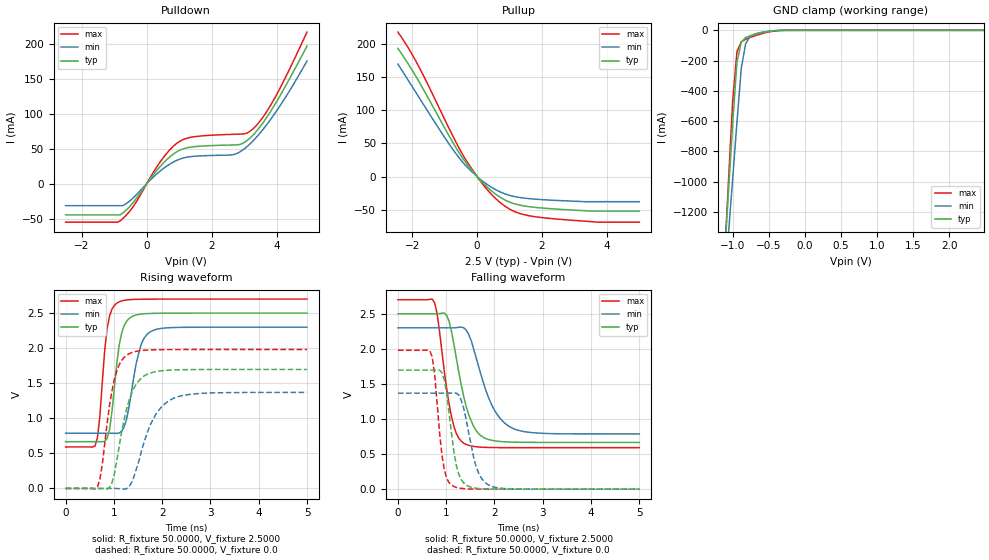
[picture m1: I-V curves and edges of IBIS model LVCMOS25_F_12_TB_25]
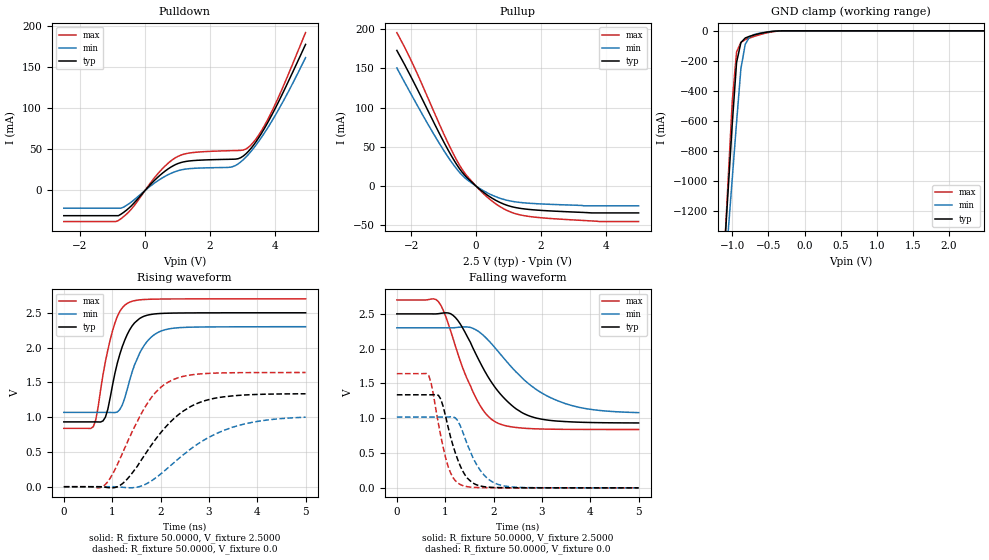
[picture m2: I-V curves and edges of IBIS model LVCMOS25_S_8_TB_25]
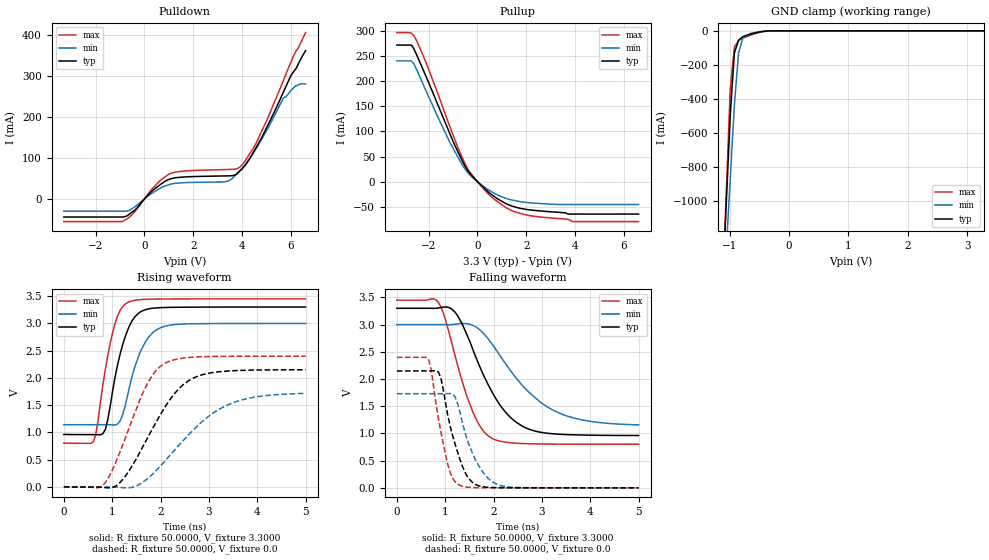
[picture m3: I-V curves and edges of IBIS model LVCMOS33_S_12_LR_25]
| / 7\'7
| \ \   Xilinx Inc.
| / /
| \_\/.\   IBIS Models for SPARTAN-6
[IBIS ver]   4.2
[File name]   MIPSSystem.ibs
[File Rev]   1.3
[Date]   Wed October 15 14:00:35 2014
[Source]   Derived from spice models, rev0.21, using
   hspice 2007.12
[Notes]   Xilinx IBIS file for SPARTAN-6 I/O standards.
   All models are preliminary.
   The version of IBISCHK used is ibischk4.
   Ibis models were generated using S2IBIS3.
[Disclaimer] The data in this file is derived from SPICE simulations using
                 modeling information extracted from the target process. While
                 a great deal of care has been taken to provide information
                 that is accurate, this model is considered preliminary as it
                 has not been verified by actual silicon measurement. Treat the
                 data in this model as preliminary until actual silicon
                 verification is performed.
[Copyright]   Copyright 2009, 2010, Xilinx Inc., All rights reserved
|   Component SPARTAN-6
[Component]   SPARTAN-6
[Manufacturer]   Xilinx Inc.
[Package]
|CSG324
|variable   typ   min   max
R_pkg   115.02m   53.54m   220.96m
L_pkg   4.09nH   1.70nH   9.73nH
C_pkg   1.04pF   0.60pF   1.51pF
[Pin]  signal_name   model_name
H13   UART_Rx   LVCMOS33_S_12_LR_25
H14   UART_Tx   LVCMOS33_S_12_LR_25
H18   reset   LVCMOS33_S_12_LR_25
K15   clk   LVCMOS33_S_12_LR_25
J13   leds<0>   LVCMOS33_S_12_LR_25
K14   leds<1>   LVCMOS33_S_12_LR_25
U17   leds<2>   LVCMOS33_S_12_LR_25
U18   leds<3>   LVCMOS33_S_12_LR_25
D4   HSWAPEN   LVCMOS25_F_12_TB_25
C4   IO_L1N_VREF_0   NC
B2   IO_L2P_0   NC
A2   IO_L2N_0   NC
D6   IO_L3P_0   NC
C6   IO_L3N_0   NC
B3   IO_L4P_0   NC
A3   IO_L4N_0   NC
B4   IO_L5P_0   NC
A4   IO_L5N_0   NC
C5   IO_L6P_0   NC
A5   IO_L6N_0   NC
F7   IO_L7P_0   NC
E6   IO_L7N_0   NC
B6   IO_L8P_0   NC
A6   IO_L8N_VREF_0   NC
E7   IO_L9P_0   NC
E8   IO_L9N_0   NC
C7   IO_L10P_0   NC
A7   IO_L10N_0   NC
D8   IO_L11P_0   NC
C8   IO_L11N_0   NC
G8   IO_L32P_0   NC
F8   IO_L32N_0   NC
B8   IO_L33P_0   NC
A8   IO_L33N_0   NC
D9   GCLK19   NC
C9   GCLK18   NC
B9   GCLK17   NC
A9   GCLK16   NC
D11   GCLK15   NC
C11   GCLK14   NC
C10   GCLK13   NC
A10   GCLK12   NC
G9   IO_L38P_0   NC
F9   IO_L38N_VREF_0   NC
B11   IO_L39P_0   NC
A11   IO_L39N_0   NC
G11   IO_L40P_0   NC
F10   IO_L40N_0   NC
B12   IO_L41P_0   NC
A12   IO_L41N_0   NC
F11   IO_L42P_0   NC
E11   IO_L42N_0   NC
D12   IO_L47P_0   NC
C12   IO_L47N_0   NC
C13   IO_L50P_0   NC
A13   IO_L50N_0   NC
F12   IO_L51P_0   NC
E12   IO_L51N_0   NC
B14   IO_L62P_0   NC
A14   IO_L62N_VREF_0   NC
F13   SCP7   LVCMOS25_F_12_TB_25
E13   SCP6   LVCMOS25_F_12_TB_25
C15   SCP5   LVCMOS25_F_12_TB_25
A15   SCP4   LVCMOS25_F_12_TB_25
D14   SCP3   LVCMOS25_F_12_TB_25
C14   SCP2   LVCMOS25_F_12_TB_25
B16   SCP1   LVCMOS25_F_12_TB_25
A16   SCP0   LVCMOS25_F_12_TB_25
F15   A25   LVCMOS25_F_12_TB_25
F16   A24   LVCMOS25_F_12_TB_25
C17   A23_M1A13   NC
C18   A22_M1A14   NC
F14   A21_M1RESET   NC
G14   A20_M1A11   NC
D17   A19_M1CKE   NC
D18   A18_M1A12   NC
H12   A17_M1A8   NC
G13   A16_M1A9   NC
E16   A15_M1A10   NC
E18   A14_M1A4   NC
K12   A13_M1WE   NC
K13   A12_M1BA2   NC
F17   A11_M1A7   NC
F18   A10_M1A2   NC
H15   A7_M1A0   NC
H16   A6_M1A1   NC
G16   A5_M1CLK   NC
G18   A4_M1CLKN   NC
L12   GCLK11_M1A5   NC
L13   GCLK10_M1A6   NC
K16   GCLK8_M1CASN   NC
L15   GCLK7_M1UDM   NC
L16   GCLK6_TRDY1_M1LDM   NC
H17   GCLK5_M1DQ4   NC
J16   A3_M1DQ6   NC
J18   A2_M1DQ7   NC
K17   A1_M1LDQS   NC
K18   A0_M1LDQSN   NC
L17   FCS_B_M1DQ2   NC
L18   FOE_B_M1DQ3   NC
M16   FWE_B_M1DQ0   NC
M18   LDC_M1DQ1   NC
N17   HDC_M1DQ8   NC
N18   M1DQ9   NC
P17   M1DQ10   NC
P18   M1DQ11   NC
N15   M1UDQS   NC
N16   M1UDQSN   NC
T17   M1DQ12   NC
T18   M1DQ13   NC
M14   IO_L53P_1   NC
N14   IO_L53N_VREF_1   NC
L14   IO_L61P_1   NC
M13   IO_L61N_1   NC
P15   AWAKE   LVCMOS25_F_12_TB_25
P16   DOUT_BUSY   LVCMOS25_F_12_TB_25
R15   CCLK   LVCMOS25_F_12_TB_25
T15   M0_CMPMISO   NC
U16   CMPCLK   NC
V16   CMPMOSI   NC
R13   D0_DIN_MISO_MISO1   LVCMOS25_F_12_TB_25
T13   MOSI_CSI_B_MISO0   LVCMOS25_F_12_TB_25
U15   IO_L5P_2   NC
V15   IO_L5N_2   NC
T14   D1_MISO2   LVCMOS25_F_12_TB_25
V14   D2_MISO3   LVCMOS25_F_12_TB_25
N12   M1   LVCMOS25_F_12_TB_25
P12   D10   LVCMOS25_F_12_TB_25
U13   D11   LVCMOS25_F_12_TB_25
V13   D12   LVCMOS25_F_12_TB_25
M11   IO_L15P_2   NC
N11   IO_L15N_2   NC
R11   IO_L16P_2   NC
T11   IO_L16N_VREF_2   NC
T12   IO_L19P_2   NC
V12   IO_L19N_2   NC
N10   IO_L20P_2   NC
P11   IO_L20N_2   NC
M10   IO_L22P_2   NC
N9   IO_L22N_2   NC
U11   IO_L23P_2   NC
V11   IO_L23N_2   NC
R10   GCLK3   NC
T10   GCLK2   NC
U10   GCLK1_D13   NC
V10   GCLK0_USERCCLK   NC
R8   GCLK31_D14   NC
T8   GCLK30_D15   NC
T9   GCLK29   NC
V9   GCLK28   NC
M8   IO_L40P_2   NC
N8   IO_L40N_2   NC
U8   IO_L41P_2   NC
V8   IO_L41N_VREF_2   NC
U7   IO_L43P_2   NC
V7   IO_L43N_2   NC
N7   IO_L44P_2   NC
P8   IO_L44N_2   NC
T6   IO_L45P_2   NC
V6   IO_L45N_2   NC
R7   IO_L46P_2   NC
T7   IO_L46N_2   NC
N6   IO_L47P_2   NC
P7   IO_L47N_2   NC
R5   D7   LVCMOS25_F_12_TB_25
T5   RDWR_B   LVCMOS25_F_12_TB_25
U5   D3   LVCMOS25_F_12_TB_25
V5   D4   LVCMOS25_F_12_TB_25
R3   D5   LVCMOS25_F_12_TB_25
T3   D6   LVCMOS25_F_12_TB_25
T4   IO_L63P_2   NC
V4   IO_L63N_2   NC
N5   D8   LVCMOS25_F_12_TB_25
P6   D9   LVCMOS25_F_12_TB_25
U3   INIT_B   LVCMOS25_F_12_TB_25
V3   CSO_B   LVCMOS25_F_12_TB_25
N4   IO_L1P_3   NC
N3   IO_L1N_VREF_3   NC
P4   IO_L2P_3   NC
P3   IO_L2N_3   NC
L6   IO_L31P_3   NC
M5   IO_L31N_VREF_3   NC
U2   M3DQ14   NC
U1   M3DQ15   NC
T2   M3DQ12   NC
T1   M3DQ13   NC
P2   M3UDQS   NC
P1   M3UDQSN   NC
N2   M3DQ10   NC
N1   M3DQ11   NC
M3   M3DQ8   NC
M1   M3DQ9   NC
L2   M3DQ0   NC
L1   M3DQ1   NC
K2   M3DQ2   NC
K1   M3DQ3   NC
L4   M3LDQS   NC
L3   M3LDQSN   NC
J3   M3DQ6   NC
J1   M3DQ7   NC
H2   GCLK27_M3DQ4   NC
H1   GCLK26_M3DQ5   NC
K4   GCLK25_TRDY2_M3UDM   NC
K3   GCLK24_M3LDM   NC
L5   GCLK23_M3RASN   NC
K5   GCLK22_IRDY2_M3CASN  NC
H4   GCLK21_M3A5   NC
H3   GCLK20_M3A6   NC
L7   M3A3   NC
K6   M3ODT   NC
G3   M3CLK   NC
G1   M3CLKN   NC
J7   M3A0   NC
J6   M3A1   NC
F2   M3BA0   NC
F1   M3BA1   NC
H6   M3A7   NC
H5   M3A2   NC
E3   M3WE   NC
E1   M3BA2   NC
F4   M3A10   NC
F3   M3A4   NC
D2   M3A8   NC
D1   M3A9   NC
H7   M3CKE   NC
G6   M3A12   NC
E4   M3RESET   NC
D3   M3A11   NC
F6   M3A13   NC
F5   M3A14   NC
C2   IO_L83P_3   NC
C1   IO_L83N_VREF_3   NC
A17   TCK   LVCMOS25_S_8_TB_25
D15   TDI   LVCMOS25_S_8_TB_25
B18   TMS   LVCMOS25_S_8_TB_25
D16   TDO   LVCMOS25_S_8_TB_25
R16   SUSPEND   LVCMOS25_S_8_TB_25
P13   CMPCS_B_2   NC
V17   DONE_2   LVCMOS25_S_8_TB_25
V2   PROGRAM_B_2   LVCMOS25_S_8_TB_25
A1   GND   GND
A18   GND   GND
B13   GND   GND
B7   GND   GND
C16   GND   GND
C3   GND   GND
D10   GND   GND
D5   GND   GND
E15   GND   GND
G12   GND   GND
G17   GND   GND
G2   GND   GND
G5   GND   GND
H10   GND   GND
H8   GND   GND
J11   GND   GND
J15   GND   GND
J4   GND   GND
J9   GND   GND
K10   GND   GND
K8   GND   GND
L11   GND   GND
L9   GND   GND
M17   GND   GND
M2   GND   GND
M6   GND   GND
N13   GND   GND
R1   GND   GND
R14   GND   GND
R18   GND   GND
R4   GND   GND
R9   GND   GND
T16   GND   GND
U12   GND   GND
U6   GND   GND
V1   GND   GND
V18   GND   GND
B10   VCCO_0   POWER
B15   VCCO_0   POWER
B5   VCCO_0   POWER
D13   VCCO_0   POWER
D7   VCCO_0   POWER
E10   VCCO_0   POWER
G7   VCCINT   POWER
H11   VCCINT   POWER
H9   VCCINT   POWER
J10   VCCINT   POWER
J8   VCCINT   POWER
K11   VCCINT   POWER
K9   VCCINT   POWER
L10   VCCINT   POWER
L8   VCCINT   POWER
M12   VCCINT   POWER
M7   VCCINT   POWER
B1   VCCAUX   POWER
B17   VCCAUX   POWER
E14   VCCAUX   POWER
E5   VCCAUX   POWER
E9   VCCAUX   POWER
G10   VCCAUX   POWER
J12   VCCAUX   POWER
K7   VCCAUX   POWER
M9   VCCAUX   POWER
P10   VCCAUX   POWER
P14   VCCAUX   POWER
P5   VCCAUX   POWER
E17   VCCO_1   POWER
G15   VCCO_1   POWER
J14   VCCO_1   POWER
J17   VCCO_1   POWER
M15   VCCO_1   POWER
R17   VCCO_1   POWER
P9   VCCO_2   POWER
R12   VCCO_2   POWER
R6   VCCO_2   POWER
U14   VCCO_2   POWER
U4   VCCO_2   POWER
U9   VCCO_2   POWER
E2   VCCO_3   POWER
G4   VCCO_3   POWER
J2   VCCO_3   POWER
J5   VCCO_3   POWER
M4   VCCO_3   POWER
R2   VCCO_3   POWER
[Diff Pin]   inv_Pin   vdiff   tdelay_typ   tdelay_min   tdelay_max
[Series Pin Mapping] pin_2   model_name   function_table_group
| Models and submodels in the file (3): LVCMOS25_F_12_TB_25 (I/O), LVCMOS25_S_8_TB_25 (I/O), LVCMOS33_S_12_LR_25 (I/O)
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|   Model LVCMOS25_F_12_TB_25
[Model]  LVCMOS25_F_12_TB_25
Model_type I/O
Polarity   Non-Inverting
Enable   Active-Low
Vinl =   0.7000V
Vinh =   1.7000V
Vmeas =  1.2500V
Cref =   0.0F
Rref =   1.0000M
Vref =   0.0V
C_comp   5.71pF   5.63pF   6.21pF
|C_comp   6.33pF   6.15pF   6.69pF
[Temperature Range]   25.0000   85.0000   0.0
[Voltage Range]   2.5000V   2.3000V   2.7000V
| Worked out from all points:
|   slope of the pulldown table from 0 to 0.375 V, typ, clamps not added: 16.5 ohm
|   slope of the pullup table from 0 to 0.375 V, typ, clamps not added: 19.9 ohm
|   GND clamp passes 1 mA (typ) near -0.36 V on its own axis
|   rising waveform, R_fixture 50.0000, V_fixture 2.5000: 20-80 % time 189ps typ, 250ps min, 153ps max; typ from 0.666 V to 2.5 V
|   rising waveform, R_fixture 50.0000, V_fixture 0.0: 20-80 % time 324ps typ, 445ps min, 252ps max; typ from 0 V to 1.7 V
|   falling waveform, R_fixture 50.0000, V_fixture 2.5000: 20-80 % time 343ps typ, 464ps min, 261ps max; typ from 2.5 V to 0.666 V
|   falling waveform, R_fixture 50.0000, V_fixture 0.0: 20-80 % time 199ps typ, 266ps min, 166ps max; typ from 1.7 V to 0 V
[Pulldown]
|Voltage   I(typ)   I(min)   I(max)
-2.5V     -44.83mA   -31.48mA   -55.28mA
-820mV    -44.83mA   -31.48mA   -53.49mA
-420mV    -27.23mA   -20.53mA   -33.16mA
460mV     27.15mA    19.89mA    34.21mA
940mV     46.23mA    33.88mA    58.48mA
1.42V     52.95mA    39.21mA    67.16mA
2.7V      55.71mA    42.13mA    71mA
2.94V     57.58mA    47.77mA    71.38mA
3.18V     65.42mA    57.04mA    75.18mA
3.5V      82.27mA    73.18mA    90.4mA
3.9V      110mA      97.7mA     119.2mA
4.94V     197.8mA    176.4mA    217.8mA
[Pullup]
|Voltage   I(typ)   I(min)   I(max)
-2.44V    193.7mA    170mA      218.3mA
-2.12V    170mA      145.2mA    194.3mA
-1.8V     144.1mA    120.3mA    166.4mA
-1V       73.4mA     59.15mA    86.43mA
-520mV    33.18mA    26.16mA    39.71mA
-280mV    16.65mA    12.89mA    20.02mA
200mV     -10.72mA   -8.051mA   -13.21mA
760mV     -32.74mA   -24.27mA   -41.21mA
1.24V     -42.34mA   -31.1mA    -54.6mA
1.88V     -47.06mA   -34.52mA   -61.36mA
3.72V     -52.2mA    -38mA      -68.9mA
5V        -52.2mA    -38mA      -69mA
[GND_clamp]
|Voltage   I(typ)   I(min)   I(max)
-2.5V     -12.34A    -10.45A    -14.37A
-1.12V    -1.552A    -1.737A    -1.574A
-1.06V    -1.086A    -1.36A     -1.022A
-1V       -620.4mA   -984.2mA   -471mA
-940mV    -209.6mA   -607.7mA   -140.9mA
-880mV    -78.13mA   -250.8mA   -75.95mA
-820mV    -47.69mA   -89.21mA   -58.81mA
-760mV    -36.14mA   -40.83mA   -47.69mA
-700mV    -27.77mA   -25.02mA   -37.69mA
-520mV    -8.687mA   -7.489mA   -13.24mA
-400mV    -1.765mA   -1.693mA   -3.422mA
2.48V     29.1nA     237.4nA    26.83nA
[POWER_clamp]
|Voltage   I(typ)   I(min)   I(max)
-2.49V    0A         0A         0A
-2.46V    0A         0A         0A
-2.43V    0A         0A         0A
0V        0A         0A         0A
[Ramp]
| variable   typ   min   max
dV/dt_r  1.0176/0.3215n   0.8214/0.4442n   1.1880/0.2495n
dV/dt_f  1.1003/0.3383n   0.9079/0.4610n   1.2651/0.2599n
R_load = 50.0000
[Rising Waveform]
R_fixture= 50.0000
V_fixture= 2.5000
V_fixture_min= 2.3000
V_fixture_max= 2.7000
|time   V(typ)   V(min)   V(max)
0s        666.2mV    787.2mV    591.5mV
610ps     666.2mV    786.8mV    605.5mV
710ps     665.9mV    786.8mV    1.027V
860ps     711.4mV    786.8mV    2.277V
960ps     1.093V     786.6mV    2.554V
1.06ns    1.777V     785mV      2.641V
1.26ns    2.379V     980.7mV    2.686V
1.52ns    2.48V      1.944V     2.696V
1.77ns    2.494V     2.238V     2.698V
5ns       2.499V     2.299V     2.699V
[Rising Waveform]
R_fixture= 50.0000
V_fixture= 0.0
|time   V(typ)   V(min)   V(max)
0s        0V         4.306uV    3.744uV
660ps     4.656uV    -4.821uV   20.05mV
760ps     -745.3uV   -4.264uV   343.2mV
910ps     13.03mV    -32.63uV   1.182V
1.01ns    208.9mV    320.2uV    1.557V
1.31ns    1.244V     22.28mV    1.918V
1.46ns    1.485V     264.8mV    1.954V
1.77ns    1.648V     928.2mV    1.975V
2.17ns    1.687V     1.262V     1.979V
5ns       1.696V     1.369V     1.98V
[Falling Waveform]
R_fixture= 50.0000
V_fixture= 2.5000
V_fixture_min= 2.3000
V_fixture_max= 2.7000
|time   V(typ)   V(min)   V(max)
0s        2.5V       2.3V       2.7V
760ps     2.499V     2.3V       2.655V
1.06ns    2.391V     2.299V     1.214V
1.21ns    1.865V     2.302V     793.3mV
1.36ns    1.326V     2.301V     656.9mV
1.52ns    971.4mV    2.115V     616.5mV
1.67ns    791.7mV    1.75V      601.5mV
1.97ns    693.3mV    1.163V     593.3mV
2.32ns    671.6mV    887.9mV    591.7mV
5ns       666.2mV    786.9mV    591.5mV
[Falling Waveform]
R_fixture= 50.0000
V_fixture= 0.0
|time   V(typ)   V(min)   V(max)
0s        1.697V     1.369V     1.98V
660ps     1.697V     1.369V     1.973V
760ps     1.697V     1.369V     1.637V
860ps     1.697V     1.369V     823.6mV
960ps     1.56V      1.369V     278.2mV
1.16ns    530.7mV    1.373V     37.78mV
1.36ns    89.89mV    1.158V     7.681mV
1.62ns    12.65mV    320.9mV    1.2mV
1.87ns    2.561mV    63.03mV    243.2uV
5ns       38.43uV    94.63uV    5.525uV
|   Model LVCMOS25_S_8_TB_25
[Model]  LVCMOS25_S_8_TB_25
Model_type I/O
Polarity   Non-Inverting
Enable   Active-Low
Vinl =   0.7000V
Vinh =   1.7000V
Vmeas =  1.2500V
Cref =   0.0F
Rref =   1.0000M
Vref =   0.0V
C_comp   5.71pF   5.63pF   6.21pF
|C_comp   6.33pF   6.15pF   6.69pF
[Temperature Range]   25.0000   85.0000   0.0
[Voltage Range]   2.5000V   2.3000V   2.7000V
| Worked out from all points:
|   slope of the pulldown table from 0 to 0.375 V, typ, clamps not added: 24.2 ohm
|   slope of the pullup table from 0 to 0.375 V, typ, clamps not added: 30.7 ohm
|   GND clamp passes 1 mA (typ) near -0.36 V on its own axis
|   rising waveform, R_fixture 50.0000, V_fixture 2.5000: 20-80 % time 362ps typ, 409ps min, 322ps max; typ from 0.931 V to 2.5 V
|   rising waveform, R_fixture 50.0000, V_fixture 0.0: 20-80 % time 942ps typ, 1.24ns min, 734ps max; typ from 0 V to 1.33 V
|   falling waveform, R_fixture 50.0000, V_fixture 2.5000: 20-80 % time 833ps typ, 1.12ns min, 621ps max; typ from 2.5 V to 0.933 V
|   falling waveform, R_fixture 50.0000, V_fixture 0.0: 20-80 % time 351ps typ, 422ps min, 289ps max; typ from 1.34 V to 0 V
[Pulldown]
|Voltage   I(typ)   I(min)   I(max)
-2.5V     -30.64mA   -21.51mA   -37.78mA
-820mV    -30.64mA   -21.51mA   -36.55mA
-420mV    -18.59mA   -14mA      -22.63mA
460mV     18.52mA    13.55mA    23.33mA
940mV     31.53mA    23.09mA    39.91mA
1.42V     36.13mA    26.73mA    45.87mA
2.7V      38.02mA    29mA       48.49mA
2.94V     39.81mA    34.59mA    48.76mA
3.18V     47.57mA    43.81mA    52.45mA
3.5V      64.29mA    59.86mA    67.49mA
3.9V      91.72mA    84.21mA    95.98mA
4.94V     177.6mA    161.6mA    192mA
[Pullup]
|Voltage   I(typ)   I(min)   I(max)
-2.44V    172.6mA    150.3mA    195.3mA
-1.96V    135.5mA    113.9mA    156.3mA
-1.24V    75.9mA     61.76mA    89.13mA
-840mV    44.34mA    35.65mA    52.72mA
-520mV    22.73mA    18.02mA    27.39mA
-360mV    14.24mA    11.16mA    17.17mA
-40mV     1.494mA    1.131mA    1.826mA
520mV     -16mA      -11.94mA   -19.94mA
1.08V     -25.92mA   -19.07mA   -33.17mA
1.64V     -29.63mA   -21.74mA   -38.56mA
3.8V      -34mA      -25mA      -45mA
5V        -34mA      -25mA      -45mA
[GND_clamp]
|Voltage   I(typ)   I(min)   I(max)
-2.5V     -12.34A    -10.45A    -14.37A
-1.12V    -1.552A    -1.737A    -1.574A
-1.06V    -1.086A    -1.36A     -1.022A
-1V       -620.4mA   -984.2mA   -471mA
-940mV    -209.6mA   -607.7mA   -140.9mA
-880mV    -78.13mA   -250.8mA   -75.95mA
-820mV    -47.69mA   -89.21mA   -58.81mA
-760mV    -36.14mA   -40.83mA   -47.69mA
-700mV    -27.77mA   -25.02mA   -37.69mA
-520mV    -8.687mA   -7.489mA   -13.24mA
-400mV    -1.765mA   -1.693mA   -3.422mA
2.48V     29.1nA     237.4nA    26.83nA
[POWER_clamp]
|Voltage   I(typ)   I(min)   I(max)
-2.49V    0A         0A         0A
-2.46V    0A         0A         0A
-2.43V    0A         0A         0A
0V        0A         0A         0A
[Ramp]
| variable   typ   min   max
dV/dt_r  0.8010/0.9444n   0.5992/1.2397n   0.9846/0.7328n
dV/dt_f  0.9404/0.8324n   0.7314/1.1195n   1.1169/0.6193n
R_load = 50.0000
[Rising Waveform]
R_fixture= 50.0000
V_fixture= 2.5000
V_fixture_min= 2.3000
V_fixture_max= 2.7000
|time   V(typ)   V(min)   V(max)
0s        931.4mV    1.068V     838.4mV
610ps     931.3mV    1.068V     862.4mV
710ps     930.5mV    1.068V     1.145V
860ps     998.4mV    1.068V     1.796V
1.06ns    1.638V     1.065V     2.359V
1.21ns    2.014V     1.175V     2.571V
1.31ns    2.184V     1.395V     2.633V
1.62ns    2.438V     1.984V     2.688V
2.02ns    2.49V      2.239V     2.697V
5ns       2.499V     2.299V     2.699V
[Rising Waveform]
R_fixture= 50.0000
V_fixture= 0.0
|time   V(typ)   V(min)   V(max)
0s        4.876uV    41.92uV    4.581uV
710ps     359.4uV    -14.06uV   -16.1mV
860ps     -8.032mV   -33.9uV    31.75mV
1.21ns    42.43mV    -8.289mV   475.7mV
1.72ns    505.3mV    46.25mV    1.188V
1.97ns    746.1mV    164mV      1.406V
2.22ns    940.8mV    310.7mV    1.525V
2.78ns    1.203V     618.4mV    1.618V
3.48ns    1.304V     852.8mV    1.637V
5ns       1.335V     998.3mV    1.641V
[Falling Waveform]
R_fixture= 50.0000
V_fixture= 2.5000
V_fixture_min= 2.3000
V_fixture_max= 2.7000
|time   V(typ)   V(min)   V(max)
0s        2.5V       2.3V       2.7V
860ps     2.503V     2.3V       2.675V
1.21ns    2.448V     2.302V     2.04V
1.62ns    1.943V     2.277V     1.314V
1.82ns    1.675V     2.172V     1.082V
2.07ns    1.409V     1.981V     936mV
2.58ns    1.084V     1.586V     859.6mV
3.23ns    964.7mV    1.28V      842.4mV
3.94ns    940mV      1.135V     839.2mV
5ns       932.7mV    1.081V     838.5mV
[Falling Waveform]
R_fixture= 50.0000
V_fixture= 0.0
|time   V(typ)   V(min)   V(max)
0s        1.337V     1.017V     1.641V
660ps     1.337V     1.017V     1.613V
710ps     1.337V     1.017V     1.503V
910ps     1.273V     1.017V     741mV
1.06ns    874.2mV    1.018V     308.4mV
1.31ns    317.9mV    895.9mV    48.29mV
1.46ns    138.5mV    618.3mV    16.35mV
1.67ns    38.15mV    310.7mV    4.598mV
2.07ns    4.335mV    55.45mV    1.049mV
5ns       39.64uV    265.7uV    63.68uV
|   Model LVCMOS33_S_12_LR_25
[Model]  LVCMOS33_S_12_LR_25
Model_type I/O
Polarity   Non-Inverting
Enable   Active-Low
Vinl =   0.8000V
Vinh =   2.0000V
Vmeas =  1.6500V
Cref =   0.0F
Rref =   1.0000M
Vref =   0.0V
C_comp   6.08pF   5.79pF   6.38pF
|C_comp  6.55pF   6.18pF   6.90pF
[Temperature Range]   25.0000   85.0000   0.0
[Voltage Range]   3.3000V   3.0000V   3.4500V
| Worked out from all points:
|   slope of the pulldown table from 0 to 0.495 V, typ, clamps not added: 17.6 ohm
|   slope of the pullup table from 0 to 0.495 V, typ, clamps not added: 21.9 ohm
|   GND clamp passes 1 mA (typ) near -0.37 V on its own axis
|   rising waveform, R_fixture 50.0000, V_fixture 3.3000: 20-80 % time 352ps typ, 392ps min, 311ps max; typ from 0.963 V to 3.3 V
|   rising waveform, R_fixture 50.0000, V_fixture 0.0: 20-80 % time 855ps typ, 1.16ns min, 656ps max; typ from 0.005 V to 2.15 V
|   falling waveform, R_fixture 50.0000, V_fixture 3.3000: 20-80 % time 772ps typ, 1.07ns min, 544ps max; typ from 3.3 V to 0.962 V
|   falling waveform, R_fixture 50.0000, V_fixture 0.0: 20-80 % time 367ps typ, 431ps min, 290ps max; typ from 2.15 V to 0 V
[Pulldown]
|Voltage   I(typ)   I(min)   I(max)
-3.3V     -44.1mA    -29.8mA    -55.19mA
-900mV    -44.1mA    -29.8mA    -55.19mA
-400mV    -28.02mA   -19.52mA   -31.94mA
300mV     18.55mA    13.49mA    23.39mA
1V        47.69mA    35mA       60.39mA
3.3V      56.34mA    42.11mA    71.89mA
3.9V      67.81mA    68.54mA    77.64mA
4.6V      128.4mA    125.4mA    139.6mA
5.7V      262.2mA    246.9mA    290.8mA
6V        301.8mA    264.9mA    334.5mA
6.2V      318mA      276.5mA    361mA
6.6V      362.4mA    281.2mA    406.7mA
[Pullup]
|Voltage   I(typ)   I(min)   I(max)
-3.3V     271.2mA    239.8mA    296mA
-2.7V     271.2mA    239.8mA    294.7mA
-2.6V     263.6mA    233.8mA    289.8mA
-2V       197mA      169.1mA    223.4mA
-1.1V     92.03mA    75.56mA    105.6mA
-500mV    30mA       24.41mA    35.09mA
0V        241.4uA    90.5nA     720.3nA
700mV     -29.7mA    -23.18mA   -35.27mA
1.4V      -48.09mA   -36.21mA   -57.21mA
2.2V      -56.26mA   -41.99mA   -67.72mA
3.9V      -64.22mA   -45.24mA   -79.08mA
6.6V      -64.22mA   -45.24mA   -79.08mA
[GND_clamp]
|Voltage   I(typ)   I(min)   I(max)
-3.3V     -18.52A    -15.36A    -21.95A
-1.13V    -1.576A    -1.741A    -1.622A
-1.06V    -1.033A    -1.304A    -972.3mA
-990mV    -491.6mA   -868.4mA   -339.8mA
-920mV    -129.2mA   -432.6mA   -93.44mA
-850mV    -55.09mA   -130.6mA   -57.8mA
-780mV    -34.6mA    -44.44mA   -43.32mA
-640mV    -18.05mA   -14.41mA   -24.46mA
-430mV    -2.792mA   -3.457mA   -4.527mA
-290mV    -120.4uA   -138.5uA   -718.9uA
3.28V     30.42nA    258.3nA    28.48nA
[POWER_clamp]
|Voltage   I(typ)   I(min)   I(max)
-3.28V    0A         0A         0A
-3.24V    0A         0A         0A
-3.2V     0A         0A         0A
0V        0A         0A         0A
[Ramp]
| variable   typ   min   max
dV/dt_r  1.2894/0.8562n   1.0302/1.1633n   1.4388/0.6553n
dV/dt_f  1.4029/0.7711n   1.1058/1.0710n   1.5889/0.5427n
R_load = 50.0000
[Rising Waveform]
R_fixture= 50.0000
V_fixture= 3.3000
V_fixture_min= 3.0000
V_fixture_max= 3.4500
|time   V(typ)   V(min)   V(max)
0s        962.8mV    1.142V     804mV
610ps     960.9mV    1.142V     828.6mV
660ps     961mV      1.142V     954.6mV
860ps     1.056V     1.142V     2.163V
1.06ns    2.013V     1.137V     3V
1.16ns    2.42V      1.204V     3.231V
1.31ns    2.853V     1.642V     3.376V
1.62ns    3.228V     2.549V     3.437V
2.02ns    3.289V     2.928V     3.446V
5ns       3.299V     2.999V     3.449V
[Rising Waveform]
R_fixture= 50.0000
V_fixture= 0.0
|time   V(typ)   V(min)   V(max)
0s        5.112mV    657.3nV    92.02uV
710ps     728.5uV    -9.997uV   -13.92mV
860ps     -10.82mV   -41.61uV   85.08mV
1.21ns    129mV      -11.19mV   752.5mV
1.72ns    880.7mV    146.2mV    1.88V
2.12ns    1.504V     505mV      2.28V
2.63ns    1.975V     1.004V     2.377V
3.33ns    2.123V     1.479V     2.396V
3.99ns    2.144V     1.653V     2.398V
5ns       2.149V     1.717V     2.398V
[Falling Waveform]
R_fixture= 50.0000
V_fixture= 3.3000
V_fixture_min= 3.0000
V_fixture_max= 3.4500
|time   V(typ)   V(min)   V(max)
0s        3.3V       3V         3.45V
860ps     3.306V     3V         3.408V
1.01ns    3.324V     2.999V     3.076V
1.21ns    3.222V     3.008V     2.409V
1.57ns    2.545V     2.987V     1.398V
1.97ns    1.761V     2.641V     908.6mV
2.47ns    1.206V     2.014V     820.5mV
3.18ns    997.6mV    1.452V     804.4mV
3.89ns    969.9mV    1.239V     802.2mV
5ns       961.9mV    1.158V     801.8mV
[Falling Waveform]
R_fixture= 50.0000
V_fixture= 0.0
|time   V(typ)   V(min)   V(max)
0s        2.149V     1.731V     2.399V
660ps     2.15V      1.731V     2.356V
860ps     2.129V     1.731V     1.275V
910ps     2.022V     1.731V     1.037V
1.06ns    1.306V     1.732V     410.3mV
1.21ns    787.1mV    1.663V     105.5mV
1.31ns    512.3mV    1.369V     42.75mV
1.62ns    64.88mV    527.4mV    4.395mV
2.07ns    3.858mV    66.43mV    878.9uV
5ns       96.94uV    256.4uV    96.11uV
